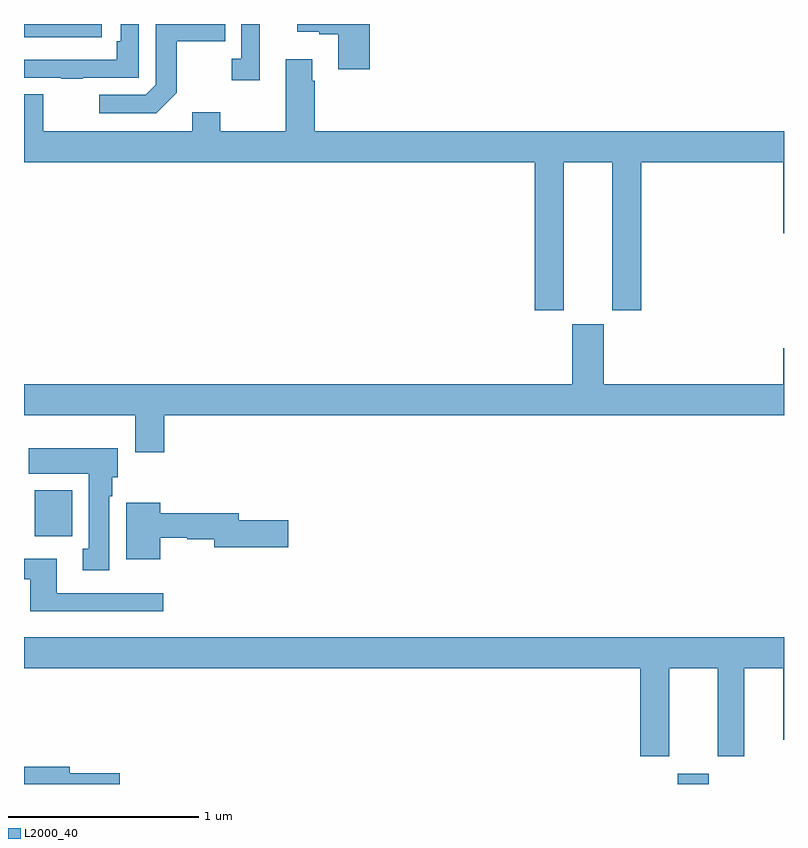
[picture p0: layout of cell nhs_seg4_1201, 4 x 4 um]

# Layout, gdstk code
import gdstk
lib = gdstk.Library(unit=1e-6, precision=1e-09)
def R(c, l, rs):  # rectangles x0, y0, x1, y1
    for r in rs: c.add(gdstk.rectangle(r[:2], r[2:], *l))
def P(c, l, *ps):  # polygons
    for p in ps: c.add(gdstk.Polygon(p, *l))
L2000_40 = (2000, 40)

nhs_seg4_1201 = lib.new_cell('nhs_seg4_1201')
R(nhs_seg4_1201, L2000_40, [(176.441,774.9,176.605,774.955), (173.057,776.204,173.254,776.446), (173,778.83,173.41,778.9)])
P(nhs_seg4_1201, L2000_40, [(173.309,778.617),(173.604,778.617),(173.604,778.9),(173.508,778.9),(173.508,778.81),(173.488,778.81),(173.488,778.713),(173,778.713),(173,778.617),(173.197,778.617),(173.197,778.612),(173.309,778.612)],
  [(174.821,778.9),(174.438,778.9),(174.438,778.859),(174.554,778.859),(174.554,778.847),(174.653,778.847),(174.653,778.662),(174.821,778.662)],
  [(174.242,778.9),(174.144,778.9),(174.144,778.718),(174.093,778.718),(174.093,778.605),(174.242,778.605)],
  [(173.803,778.537),(173.803,778.81),(174.059,778.81),(174.059,778.9),(173.694,778.9),(173.694,778.581),(173.64,778.527),(173.397,778.527),(173.397,778.431),(173.697,778.431)],
  [(175.84,778.172),(176.096,778.172),(176.096,777.393),(176.249,777.393),(176.249,778.172),(176.996,778.172),(176.996,777.798),(177,777.798),(177,778.336),(174.53,778.336),(174.53,778.601),(174.517,778.601),(174.517,778.714),(174.377,778.714),(174.377,778.336),(174.033,778.336),(174.033,778.435),(173.885,778.435),(173.885,778.336),(173.101,778.336),(173.101,778.531),(173,778.531),(173,778.172),(175.688,778.172),(175.688,777.393),(175.84,777.393)],
  [(173.738,776.84),(177,776.84),(177,777.193),(176.996,777.193),(176.996,777.004),(176.05,777.004),(176.05,777.321),(175.886,777.321),(175.886,777.004),(173,777.004),(173,776.84),(173.585,776.84),(173.585,776.646),(173.738,776.646)],
  [(173.449,776.414),(173.464,776.414),(173.464,776.514),(173.494,776.514),(173.494,776.668),(173.025,776.668),(173.025,776.534),(173.342,776.534),(173.342,776.138),(173.309,776.138),(173.309,776.025),(173.449,776.025)],
  [(173.716,776.196),(173.859,776.196),(173.859,776.188),(174.002,776.188),(174.002,776.146),(174.391,776.146),(174.391,776.288),(174.13,776.288),(174.13,776.324),(173.716,776.324),(173.716,776.38),(173.537,776.38),(173.537,776.084),(173.716,776.084)],
  [(173.734,775.905),(173.173,775.905),(173.173,776.086),(173,776.086),(173,775.977),(173.033,775.977),(173.033,775.808),(173.734,775.808)],
  [(176.395,775.508),(176.651,775.508),(176.651,775.047),(176.791,775.047),(176.791,775.508),(176.996,775.508),(176.996,775.134),(177,775.134),(177,775.672),(173,775.672),(173,775.508),(176.243,775.508),(176.243,775.047),(176.395,775.047)],
  [(173.503,774.956),(173.242,774.956),(173.242,774.992),(173,774.992),(173,774.9),(173.503,774.9)])

lib.write_gds('nhs_seg4_1201.gds')
